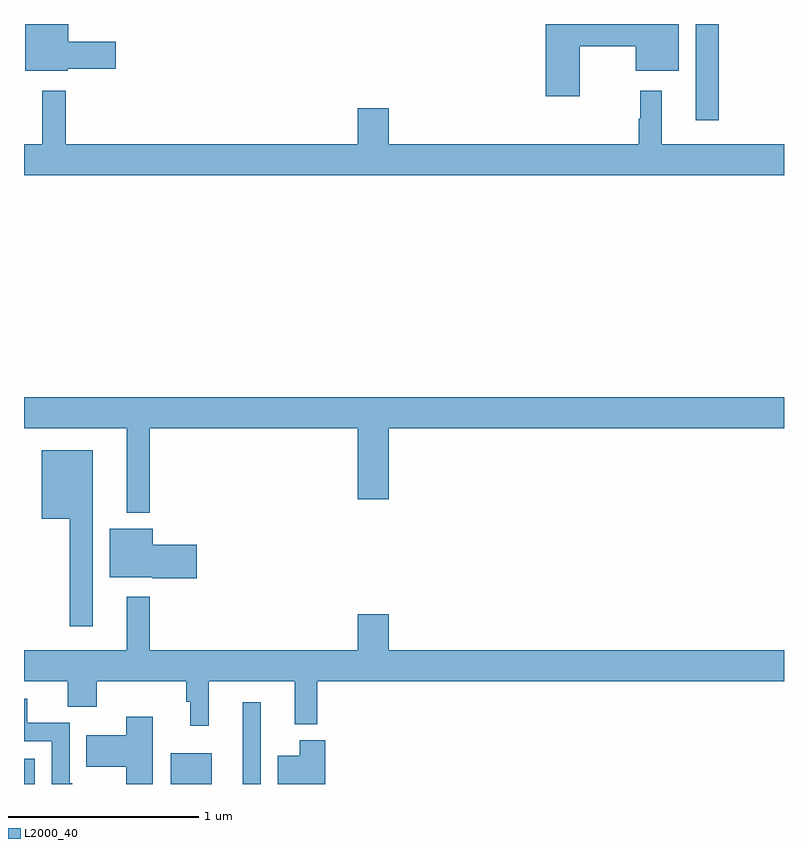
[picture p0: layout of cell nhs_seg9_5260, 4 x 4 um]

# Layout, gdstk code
import gdstk
lib = gdstk.Library(unit=1e-6, precision=1e-09)
def R(c, l, rs):  # rectangles x0, y0, x1, y1
    for r in rs: c.add(gdstk.rectangle(r[:2], r[2:], *l))
def P(c, l, *ps):  # polygons
    for p in ps: c.add(gdstk.Polygon(p, *l))
L2000_40 = (2000, 40)

nhs_seg9_5260 = lib.new_cell('nhs_seg9_5260')
R(nhs_seg9_5260, L2000_40, [(415,1242.5,415.057,1242.634), (415.772,1242.5,415.987,1242.661), (416.15,1242.5,416.247,1242.931), (418.535,1245.993,418.657,1246.5)])
P(nhs_seg9_5260, L2000_40, [(415.23,1246.264),(415.483,1246.264),(415.483,1246.406),(415.234,1246.406),(415.234,1246.5),(415.007,1246.5),(415.007,1246.253),(415.23,1246.253)],
  [(417.924,1246.384),(418.22,1246.384),(418.22,1246.253),(418.447,1246.253),(418.447,1246.5),(417.746,1246.5),(417.746,1246.119),(417.924,1246.119)],
  [(419,1245.868),(418.357,1245.868),(418.357,1246.15),(418.243,1246.15),(418.243,1246.001),(418.236,1246.001),(418.236,1245.868),(416.92,1245.868),(416.92,1246.057),(416.756,1246.057),(416.756,1245.868),(415.219,1245.868),(415.219,1246.15),(415.097,1246.15),(415.097,1245.868),(415,1245.868),(415,1245.704),(419,1245.704)],
  [(415.663,1244.372),(416.756,1244.372),(416.756,1243.998),(416.92,1243.998),(416.92,1244.372),(419,1244.372),(419,1244.536),(415,1244.536),(415,1244.372),(415.541,1244.372),(415.541,1243.928),(415.663,1243.928)],
  [(415.363,1244.257),(415.094,1244.257),(415.094,1243.895),(415.242,1243.895),(415.242,1243.329),(415.363,1243.329)],
  [(415.909,1243.76),(415.678,1243.76),(415.678,1243.843),(415.451,1243.843),(415.451,1243.589),(415.674,1243.589),(415.674,1243.582),(415.909,1243.582)],
  [(415.973,1243.04),(416.426,1243.04),(416.426,1242.815),(416.543,1242.815),(416.543,1243.04),(419,1243.04),(419,1243.204),(416.92,1243.204),(416.92,1243.393),(416.756,1243.393),(416.756,1243.204),(415.663,1243.204),(415.663,1243.486),(415.541,1243.486),(415.541,1243.204),(415,1243.204),(415,1243.04),(415.229,1243.04),(415.229,1242.907),(415.382,1242.907),(415.382,1243.04),(415.855,1243.04),(415.855,1242.932),(415.874,1242.932),(415.874,1242.807),(415.973,1242.807)],
  [(415.255,1242.503),(415.242,1242.503),(415.242,1242.822),(415.016,1242.822),(415.016,1242.948),(415,1242.948),(415,1242.726),(415.146,1242.726),(415.146,1242.5),(415.255,1242.5)],
  [(415.678,1242.853),(415.537,1242.853),(415.537,1242.757),(415.327,1242.757),(415.327,1242.592),(415.537,1242.592),(415.537,1242.5),(415.678,1242.5)],
  [(416.585,1242.73),(416.45,1242.73),(416.45,1242.649),(416.336,1242.649),(416.336,1242.5),(416.585,1242.5)])

lib.write_gds('nhs_seg9_5260.gds')
